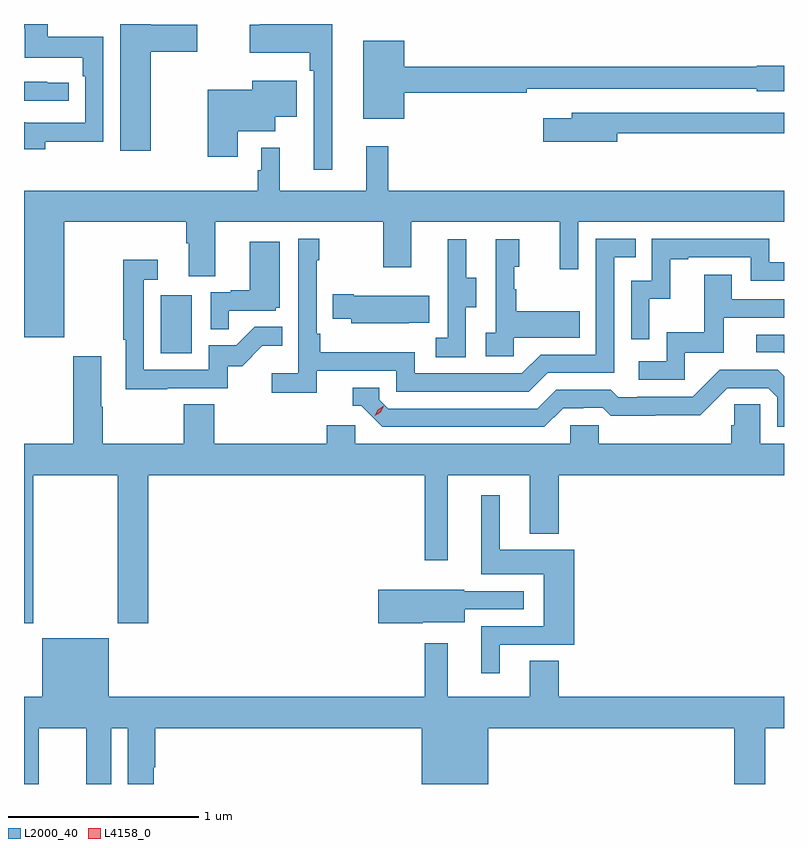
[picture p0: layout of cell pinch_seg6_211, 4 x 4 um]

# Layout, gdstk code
import gdstk
lib = gdstk.Library(unit=1e-6, precision=1e-09)
def R(c, l, rs):  # rectangles x0, y0, x1, y1
    for r in rs: c.add(gdstk.rectangle(r[:2], r[2:], *l))
def P(c, l, *ps):  # polygons
    for p in ps: c.add(gdstk.Polygon(p, *l))
L2000_40 = (2000, 40)
L4158_0 = (4158, 0)

pinch_seg6_211 = lib.new_cell('pinch_seg6_211')
R(pinch_seg6_211, L2000_40, [(1031.342,920.004,1031.506,920.311)])
P(pinch_seg6_211, L2000_40, [(1030.735,921.118),(1031.04,921.118),(1031.04,921.67),(1030.747,921.67),(1030.747,921.738),(1030.622,921.738),(1030.622,921.715),(1030.626,921.715),(1030.626,921.56),(1030.93,921.56),(1030.93,921.464),(1030.944,921.464),(1030.944,921.219),(1030.631,921.219),(1030.631,921.22),(1030.622,921.22),(1030.622,921.08),(1030.735,921.08)],
  [(1032.244,921.738),(1031.862,921.738),(1031.862,921.735),(1031.81,921.735),(1031.81,921.587),(1032.127,921.587),(1032.127,921.491),(1032.147,921.491),(1032.147,920.97),(1032.244,920.97)],
  [(1031.29,921.593),(1031.533,921.593),(1031.533,921.735),(1031.29,921.735),(1031.29,921.738),(1031.129,921.738),(1031.129,921.072),(1031.29,921.072)],
  [(1032.622,921.376),(1033.268,921.376),(1033.268,921.396),(1034.478,921.396),(1034.478,921.383),(1034.622,921.383),(1034.622,921.518),(1034.478,921.518),(1034.478,921.512),(1032.622,921.512),(1032.622,921.649),(1032.407,921.649),(1032.407,921.239),(1032.622,921.239)],
  [(1031.746,921.173),(1031.944,921.173),(1031.944,921.251),(1032.058,921.251),(1032.058,921.439),(1031.822,921.439),(1031.822,921.391),(1031.588,921.391),(1031.588,921.039),(1031.746,921.039)],
  [(1030.858,921.429),(1030.745,921.429),(1030.745,921.434),(1030.622,921.434),(1030.622,921.333),(1030.858,921.333)],
  [(1033.744,921.162),(1034.622,921.162),(1034.622,921.27),(1033.505,921.27),(1033.505,921.241),(1033.356,921.241),(1033.356,921.119),(1033.744,921.119)],
  [(1030.834,920.696),(1031.477,920.696),(1031.477,920.584),(1031.489,920.584),(1031.489,920.41),(1031.629,920.41),(1031.629,920.696),(1032.514,920.696),(1032.514,920.457),(1032.661,920.457),(1032.661,920.696),(1033.442,920.696),(1033.442,920.448),(1033.539,920.448),(1033.539,920.696),(1034.622,920.696),(1034.622,920.86),(1032.539,920.86),(1032.539,921.094),(1032.422,921.094),(1032.422,920.86),(1031.969,920.86),(1031.969,921.088),(1031.871,921.088),(1031.871,920.967),(1031.851,920.967),(1031.851,920.86),(1030.622,920.86),(1030.622,920.09),(1030.834,920.09)],
  [(1032.164,919.914),(1032.582,919.914),(1032.582,919.803),(1033.279,919.803),(1033.378,919.902),(1033.728,919.902),(1033.728,920.511),(1033.841,920.511),(1033.841,920.607),(1033.632,920.607),(1033.632,919.998),(1033.341,919.998),(1033.242,919.899),(1032.678,919.899),(1032.678,920.011),(1032.182,920.011),(1032.182,920.107),(1032.162,920.107),(1032.162,920.495),(1032.175,920.495),(1032.175,920.608),(1032.066,920.608),(1032.066,919.9),(1031.925,919.9),(1031.925,919.798),(1032.164,919.798)],
  [(1033.914,920.291),(1034.024,920.291),(1034.024,920.499),(1034.119,920.499),(1034.119,920.511),(1034.448,920.511),(1034.448,920.388),(1034.622,920.388),(1034.622,920.484),(1034.544,920.484),(1034.544,920.607),(1033.926,920.607),(1033.926,920.388),(1033.818,920.388),(1033.818,920.079),(1033.914,920.079)],
  [(1033.2,920.087),(1033.547,920.087),(1033.547,920.227),(1033.213,920.227),(1033.213,920.342),(1033.203,920.342),(1033.203,920.46),(1033.228,920.46),(1033.228,920.605),(1033.104,920.605),(1033.104,920.114),(1033.053,920.114),(1033.053,919.989),(1033.2,919.989)],
  [(1032.948,920.248),(1033.003,920.248),(1033.003,920.403),(1032.949,920.403),(1032.949,920.605),(1032.851,920.605),(1032.851,920.391),(1032.852,920.391),(1032.852,920.087),(1032.789,920.087),(1032.789,919.984),(1032.948,919.984)],
  [(1031.699,920.229),(1031.946,920.229),(1031.946,920.244),(1031.968,920.244),(1031.968,920.593),(1031.81,920.593),(1031.81,920.338),(1031.711,920.338),(1031.711,920.325),(1031.604,920.325),(1031.604,920.131),(1031.699,920.131)],
  [(1031.375,919.821),(1031.694,919.821),(1031.694,919.938),(1031.77,919.938),(1031.877,920.045),(1031.981,920.045),(1031.981,920.144),(1031.837,920.144),(1031.739,920.046),(1031.595,920.046),(1031.595,919.917),(1031.253,919.917),(1031.253,920.391),(1031.326,920.391),(1031.326,920.497),(1031.145,920.497),(1031.145,920.077),(1031.157,920.077),(1031.157,919.816),(1031.375,919.816)],
  [(1034.1,920.007),(1034.305,920.007),(1034.305,920.193),(1034.622,920.193),(1034.622,920.289),(1034.347,920.289),(1034.347,920.419),(1034.203,920.419),(1034.203,920.116),(1034.004,920.116),(1034.004,919.962),(1033.857,919.962),(1033.857,919.866),(1034.1,919.866)],
  [(1032.647,920.165),(1032.755,920.165),(1032.755,920.308),(1032.358,920.308),(1032.358,920.316),(1032.247,920.316),(1032.247,920.186),(1032.345,920.186),(1032.345,920.162),(1032.647,920.162)],
  [(1034.622,920.103),(1034.475,920.103),(1034.475,920.01),(1034.616,920.01),(1034.622,920.004)],
  [(1030.671,919.364),(1031.116,919.364),(1031.116,918.585),(1031.276,918.585),(1031.276,919.364),(1032.732,919.364),(1032.732,918.915),(1032.853,918.915),(1032.853,919.364),(1033.283,919.364),(1033.283,919.055),(1033.436,919.055),(1033.436,919.364),(1034.622,919.364),(1034.622,919.528),(1034.496,919.528),(1034.496,919.736),(1034.359,919.736),(1034.359,919.626),(1034.345,919.626),(1034.345,919.528),(1033.647,919.528),(1033.647,919.626),(1033.497,919.626),(1033.497,919.528),(1032.366,919.528),(1032.366,919.626),(1032.215,919.626),(1032.215,919.528),(1031.624,919.528),(1031.624,919.736),(1031.464,919.736),(1031.464,919.528),(1031.037,919.528),(1031.037,919.724),(1031.029,919.724),(1031.029,919.99),(1030.882,919.99),(1030.882,919.528),(1030.622,919.528),(1030.622,918.585),(1030.671,918.585)],
  [(1033.459,919.716),(1033.566,919.716),(1033.566,919.719),(1033.669,919.719),(1033.711,919.677),(1033.944,919.677),(1033.944,919.679),(1034.18,919.679),(1034.322,919.821),(1034.538,919.821),(1034.586,919.773),(1034.586,919.617),(1034.622,919.617),(1034.622,919.884),(1034.589,919.917),(1034.283,919.917),(1034.142,919.776),(1033.849,919.776),(1033.849,919.773),(1033.75,919.773),(1033.711,919.812),(1033.422,919.812),(1033.323,919.713),(1032.54,919.713),(1032.492,919.761),(1032.492,919.824),(1032.353,919.824),(1032.353,919.728),(1032.396,919.728),(1032.507,919.617),(1033.36,919.617)],
  [(1033.126,918.471),(1033.517,918.471),(1033.517,918.97),(1033.126,918.97),(1033.126,919.258),(1033.028,919.258),(1033.028,918.842),(1033.358,918.842),(1033.358,918.567),(1033.028,918.567),(1033.028,918.321),(1033.126,918.321)],
  [(1032.72,918.59),(1032.943,918.59),(1032.943,918.657),(1033.252,918.657),(1033.252,918.753),(1032.939,918.753),(1032.939,918.761),(1032.486,918.761),(1032.486,918.583),(1032.72,918.583)],
  [(1030.699,918.032),(1030.949,918.032),(1030.949,917.738),(1031.08,917.738),(1031.08,918.032),(1031.168,918.032),(1031.168,917.738),(1031.305,917.738),(1031.305,917.827),(1031.312,917.827),(1031.312,918.032),(1032.716,918.032),(1032.716,917.738),(1033.066,917.738),(1033.066,918.032),(1034.36,918.032),(1034.36,917.738),(1034.524,917.738),(1034.524,918.032),(1034.622,918.032),(1034.622,918.196),(1033.436,918.196),(1033.436,918.386),(1033.283,918.386),(1033.283,918.196),(1032.853,918.196),(1032.853,918.478),(1032.732,918.478),(1032.732,918.196),(1031.068,918.196),(1031.068,918.505),(1030.718,918.505),(1030.718,918.196),(1030.622,918.196),(1030.622,917.738),(1030.699,917.738)])
P(pinch_seg6_211, L4158_0, [(1032.468,919.675),(1032.468,919.675),(1032.485,919.708),(1032.516,919.728),(1032.516,919.728),(1032.516,919.727),(1032.5,919.694),(1032.468,919.675)])

lib.write_gds('pinch_seg6_211.gds')
